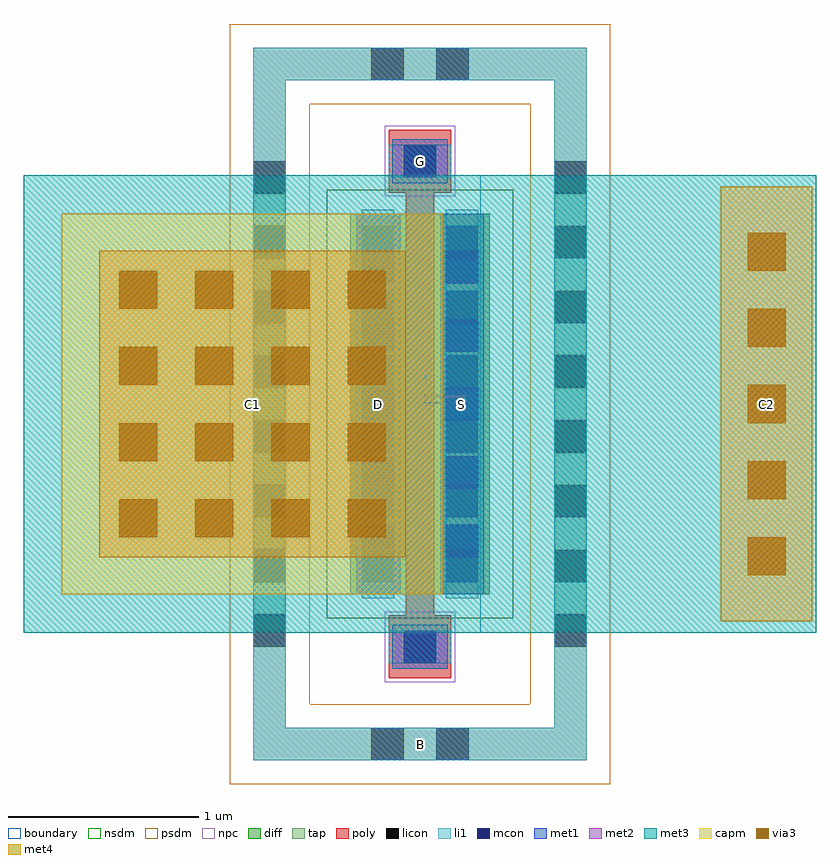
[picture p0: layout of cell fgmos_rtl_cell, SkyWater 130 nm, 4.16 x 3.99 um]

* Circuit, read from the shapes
.subckt fgmos_rtl_cell B C1 C2 D G S
XM1 S G D B sky130_fd_pr__nfet_01v8 w=2 l=0.15
XC2 C1 C2 sky130_fd_pr__cap_mim_m3_1 w=2 l=2
.ends

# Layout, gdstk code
import gdstk
lib = gdstk.Library(unit=1e-6, precision=1e-09)
def R(c, l, rs):  # rectangles x0, y0, x1, y1
    for r in rs: c.add(gdstk.rectangle(r[:2], r[2:], *l))
def A(c, l, x, y, w, h, nx, ny, dx, dy):  # array of equal rectangles
    R(c, l, [(x+i*dx, y+j*dy, x+i*dx+w, y+j*dy+h) for i in range(nx) for j in range(ny)])
diff = (65, 20)
tap = (65, 44)
poly = (66, 20)
licon = (66, 44)
li1 = (67, 20)
mcon = (67, 44)
met1 = (68, 20)
met2 = (69, 20)
met3 = (70, 20)
via3 = (70, 44)
met4 = (71, 20)
capm = (89, 44)
nsdm = (93, 44)
psdm = (94, 20)
npc = (95, 20)
boundary = (235, 4)

fgmos_rtl_cell = lib.new_cell('fgmos_rtl_cell')
R(fgmos_rtl_cell, diff, [(-0.365,-1,0.365,1)])
R(fgmos_rtl_cell, tap, [(-0.875,-1.87,0.875,-1.7), (-0.875,-1.7,-0.705,1.7), (0.705,-1.7,0.875,1.7), (-0.875,1.7,0.875,1.87)])
R(fgmos_rtl_cell, poly, [(-0.165,-1.44,0.165,-1.11), (-0.075,-1.11,0.075,1.11), (-0.165,1.11,0.165,1.44)])
A(fgmos_rtl_cell, licon, -0.875, -1.275, 0.17, 0.17, 1, 8, 0, 0.34)
A(fgmos_rtl_cell, licon, 0.705, -1.275, 0.17, 0.17, 1, 8, 0, 0.34)
A(fgmos_rtl_cell, licon, -0.305, -0.935, 0.17, 0.17, 1, 6, 0, 0.34)
A(fgmos_rtl_cell, licon, 0.135, -0.935, 0.17, 0.17, 1, 6, 0, 0.34)
R(fgmos_rtl_cell, licon, [(-0.255,-1.87,-0.085,-1.7), (0.085,-1.87,0.255,-1.7), (-0.085,-1.36,0.085,-1.19), (-0.085,1.19,0.085,1.36), (-0.255,1.7,-0.085,1.87), (0.085,1.7,0.255,1.87)])
R(fgmos_rtl_cell, li1, [(-0.875,-1.87,0.875,-1.7), (-0.875,-1.7,-0.705,1.7), (0.705,-1.7,0.875,1.7), (-0.165,-1.36,0.165,-1.19), (-0.305,-1.02,-0.135,1.02), (0.135,-1.02,0.305,1.02), (-0.165,1.19,0.165,1.36), (-0.875,1.7,0.875,1.87)])
A(fgmos_rtl_cell, mcon, -0.305, -0.805, 0.17, 0.17, 1, 5, 0, 0.36)
A(fgmos_rtl_cell, mcon, 0.135, -0.805, 0.17, 0.17, 1, 5, 0, 0.36)
R(fgmos_rtl_cell, mcon, [(-0.085,-1.36,0.085,-1.19), (-0.085,1.19,0.085,1.36)])
R(fgmos_rtl_cell, met1, [(-0.145,-1.39,0.145,-1.16), (-0.335,-1,-0.105,1), (0.105,-1,0.335,0.005), (0.02,0.005,0.335,0.01), (0.105,0.01,0.335,1), (0.025,0.13,0.035,0.15), (-0.145,1.16,0.145,1.39)])
R(fgmos_rtl_cell, met2, [(0.02,0.035,0.24,0.045)])
R(fgmos_rtl_cell, met3, [(-2.08,-1.2,2.08,1.2)])
A(fgmos_rtl_cell, via3, 1.72, -0.9, 0.2, 0.2, 1, 5, 0, 0.4)
A(fgmos_rtl_cell, via3, -1.58, -0.7, 0.2, 0.2, 4, 4, 0.4, 0.4)
R(fgmos_rtl_cell, met4, [(1.58,-1.14,2.06,1.14), (-1.685,-0.805,-0.075,0.805)])
R(fgmos_rtl_cell, capm, [(-1.88,-1,0.12,1)])
R(fgmos_rtl_cell, nsdm, [(-0.49,-1.125,0.49,1.125)])
R(fgmos_rtl_cell, psdm, [(-1,-1.995,1,-1.575), (-1,-1.575,-0.58,1.575), (0.58,-1.575,1,1.575), (-1,1.575,1,1.995)])
R(fgmos_rtl_cell, npc, [(-0.185,-1.46,0.185,-1.09), (-0.185,1.09,0.185,1.46)])
R(fgmos_rtl_cell, boundary, [(-2.08,-1.2,0.32,1.2)])
fgmos_rtl_cell.add(gdstk.Label('B', (0,-1.785), layer=67, texttype=5))
fgmos_rtl_cell.add(gdstk.Label('D', (-0.22,0), layer=67, texttype=5))
fgmos_rtl_cell.add(gdstk.Label('S', (0.22,0), layer=67, texttype=5))
fgmos_rtl_cell.add(gdstk.Label('G', (0,1.275), layer=67, texttype=5))
fgmos_rtl_cell.add(gdstk.Label('C2', (1.82,0), layer=71, texttype=5))
fgmos_rtl_cell.add(gdstk.Label('C1', (-0.88,0), layer=71, texttype=5))

lib.write_gds('fgmos_rtl_cell.gds')
